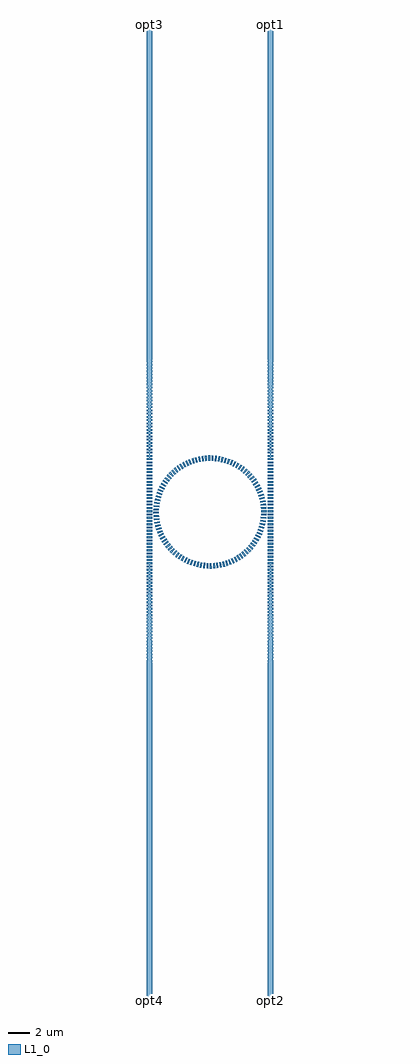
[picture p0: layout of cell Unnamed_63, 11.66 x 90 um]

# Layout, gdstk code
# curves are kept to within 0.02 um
import gdstk
lib = gdstk.Library(unit=1e-6, precision=1e-09)
def R(c, l, rs):  # rectangles x0, y0, x1, y1
    for r in rs: c.add(gdstk.rectangle(r[:2], r[2:], *l))
def A(c, l, x, y, w, h, nx, ny, dx, dy):  # array of equal rectangles
    R(c, l, [(x+i*dx, y+j*dy, x+i*dx+w, y+j*dy+h) for i in range(nx) for j in range(ny)])
def P(c, l, *ps):  # polygons
    for p in ps: c.add(gdstk.Polygon(p, *l))
L1_0 = (1, 0)

unnamed_63 = lib.new_cell('Unnamed_63')
A(unnamed_63, L1_0, -5.83, -4.5, 0.5, 0.15, 1, 31, 0, 0.3)
A(unnamed_63, L1_0, 5.33, -4.5, 0.5, 0.15, 1, 31, 0, 0.3)
P(unnamed_63, L1_0, [(-5.213,-0.153),(-5.216,0.005),(-4.716,0.005),(-4.714,-0.138)],
  [(4.716,0),(4.713,0.142),(5.213,0.157),(5.216,0)],
  [(-4.713,0.147),(-5.213,0.162),(-5.206,0.32),(-4.707,0.289)],
  [(4.707,0.285),(4.696,0.427),(5.194,0.472),(5.206,0.315)],
  [(-4.696,0.431),(-5.194,0.477),(-5.177,0.633),(-4.681,0.573)],
  [(4.681,0.568),(4.662,0.709),(5.156,0.785),(5.178,0.628)],
  [(-4.661,0.714),(-5.156,0.789),(-5.129,0.945),(-4.638,0.854)],
  [(4.638,0.85),(4.611,0.989),(5.1,1.094),(5.13,0.94)],
  [(-4.61,0.994),(-5.098,1.099),(-5.063,1.253),(-4.578,1.133)],
  [(4.579,1.128),(4.543,1.266),(5.024,1.4),(5.064,1.248)],
  [(-4.541,1.27),(-5.023,1.405),(-4.978,1.556),(-4.501,1.407)],
  [(4.502,1.403),(4.458,1.538),(4.931,1.701),(4.98,1.551)],
  [(-4.456,1.542),(-4.929,1.706),(-4.875,1.854),(-4.408,1.676)],
  [(4.409,1.672),(4.357,1.804),(4.819,1.995),(4.877,1.849)],
  [(-4.355,1.808),(-4.817,2),(-4.754,2.144),(-4.299,1.939)],
  [(4.3,1.935),(4.24,2.064),(4.69,2.283),(4.756,2.14)],
  [(-4.238,2.068),(-4.687,2.287),(-4.616,2.428),(-4.174,2.195)],
  [(4.176,2.191),(4.108,2.316),(4.543,2.561),(4.619,2.423)],
  [(-4.106,2.32),(-4.541,2.566),(-4.461,2.702),(-4.034,2.443)],
  [(4.036,2.439),(3.96,2.56),(4.38,2.831),(4.464,2.698)],
  [(-3.958,2.563),(-4.378,2.835),(-4.29,2.966),(-3.879,2.682)],
  [(3.881,2.678),(3.799,2.794),(4.202,3.09),(4.293,2.962)],
  [(-3.796,2.798),(-4.199,3.094),(-4.103,3.22),(-3.71,2.911)],
  [(3.713,2.907),(3.623,3.018),(4.007,3.338),(4.106,3.216)],
  [(-3.62,3.022),(-4.004,3.342),(-3.901,3.461),(-3.527,3.13)],
  [(3.53,3.126),(3.434,3.231),(3.799,3.574),(3.905,3.458)],
  [(-3.431,3.235),(-3.795,3.578),(-3.685,3.691),(-3.332,3.337)],
  [(3.335,3.334),(3.233,3.433),(3.576,3.797),(3.689,3.687)],
  [(-3.23,3.436),(-3.572,3.8),(-3.456,3.906),(-3.125,3.532)],
  [(3.128,3.529),(3.02,3.622),(3.34,4.006),(3.46,3.903)],
  [(-3.017,3.625),(-3.336,4.009),(-3.214,4.108),(-2.906,3.714)],
  [(2.909,3.711),(2.796,3.797),(3.092,4.2),(3.218,4.105)],
  [(-2.792,3.8),(-3.088,4.203),(-2.96,4.294),(-2.676,3.883)],
  [(2.68,3.88),(2.562,3.959),(2.833,4.379),(2.964,4.292)],
  [(-2.558,3.962),(-2.829,4.382),(-2.695,4.465),(-2.437,4.037)],
  [(2.441,4.035),(2.318,4.107),(2.564,4.542),(2.7,4.463)],
  [(-2.314,4.109),(-2.559,4.545),(-2.421,4.62),(-2.189,4.177)],
  [(2.193,4.175),(2.066,4.239),(2.285,4.689),(2.425,4.617)],
  [(-2.062,4.241),(-2.28,4.691),(-2.138,4.757),(-1.933,4.301)],
  [(1.937,4.3),(1.806,4.356),(1.998,4.818),(2.142,4.755)],
  [(-1.802,4.358),(-1.993,4.82),(-1.847,4.878),(-1.67,4.41)],
  [(1.674,4.409),(1.54,4.457),(1.703,4.93),(1.851,4.876)],
  [(-1.536,4.459),(-1.699,4.931),(-1.549,4.98),(-1.4,4.503)],
  [(1.405,4.502),(1.268,4.542),(1.403,5.024),(1.554,4.979)],
  [(-1.264,4.543),(-1.398,5.025),(-1.245,5.065),(-1.126,4.579)],
  [(1.13,4.578),(0.992,4.61),(1.097,5.099),(1.25,5.064)],
  [(-0.987,4.611),(-1.092,5.1),(-0.937,5.131),(-0.848,4.639)],
  [(0.852,4.638),(0.712,4.662),(0.787,5.156),(0.942,5.13)],
  [(-0.707,4.662),(-0.782,5.157),(-0.626,5.178),(-0.566,4.682)],
  [(0.57,4.681),(0.429,4.696),(0.474,5.194),(0.631,5.177)],
  [(-0.424,4.696),(-0.469,5.194),(-0.312,5.206),(-0.282,4.707)],
  [(0.287,4.707),(0.145,4.713),(0.16,5.213),(0.317,5.206)],
  [(-0.14,4.714),(-0.155,5.213),(0.002,5.216),(0.002,4.716)],
  [(-5.83,4.8),(-5.83,4.95),(-5.612,4.95),(-5.616,5.1),(-5.83,5.1),(-5.83,5.25),(-5.619,5.25),(-5.622,5.4),(-5.83,5.4),(-5.83,5.55),(-5.625,5.55),(-5.629,5.7),(-5.83,5.7),(-5.83,5.85),(-5.632,5.85),(-5.635,6),(-5.83,6),(-5.83,6.15),(-5.639,6.15),(-5.642,6.3),(-5.83,6.3),(-5.83,6.45),(-5.645,6.45),(-5.649,6.6),(-5.83,6.6),(-5.83,6.75),(-5.652,6.75),(-5.655,6.9),(-5.83,6.9),(-5.83,7.05),(-5.658,7.05),(-5.662,7.2),(-5.83,7.2),(-5.83,7.35),(-5.665,7.35),(-5.668,7.5),(-5.83,7.5),(-5.83,7.65),(-5.672,7.65),(-5.675,7.8),(-5.83,7.8),(-5.83,7.95),(-5.678,7.95),(-5.682,8.1),(-5.83,8.1),(-5.83,8.25),(-5.685,8.25),(-5.688,8.4),(-5.83,8.4),(-5.83,8.55),(-5.691,8.55),(-5.695,8.7),(-5.83,8.7),(-5.83,8.85),(-5.698,8.85),(-5.701,9),(-5.83,9),(-5.83,9.15),(-5.705,9.15),(-5.708,9.3),(-5.83,9.3),(-5.83,9.45),(-5.711,9.45),(-5.715,9.6),(-5.83,9.6),(-5.83,9.75),(-5.718,9.75),(-5.721,9.9),(-5.83,9.9),(-5.83,10.05),(-5.724,10.05),(-5.728,10.2),(-5.83,10.2),(-5.83,10.35),(-5.731,10.35),(-5.734,10.5),(-5.83,10.5),(-5.83,10.65),(-5.738,10.65),(-5.741,10.8),(-5.83,10.8),(-5.83,10.95),(-5.744,10.95),(-5.748,11.1),(-5.83,11.1),(-5.83,11.25),(-5.751,11.25),(-5.754,11.4),(-5.83,11.4),(-5.83,11.55),(-5.757,11.55),(-5.761,11.7),(-5.83,11.7),(-5.83,11.85),(-5.764,11.85),(-5.767,12),(-5.83,12),(-5.83,12.15),(-5.771,12.15),(-5.774,12.3),(-5.83,12.3),(-5.83,12.45),(-5.777,12.45),(-5.781,12.6),(-5.83,12.6),(-5.83,12.75),(-5.784,12.75),(-5.787,12.9),(-5.83,12.9),(-5.83,13.05),(-5.79,13.05),(-5.794,13.2),(-5.83,13.2),(-5.83,13.35),(-5.797,13.35),(-5.8,13.5),(-5.83,13.5),(-5.83,13.65),(-5.804,13.65),(-5.807,13.8),(-5.83,13.8),(-5.83,45),(-5.33,45),(-5.33,13.8),(-5.353,13.8),(-5.356,13.65),(-5.33,13.65),(-5.33,13.5),(-5.36,13.5),(-5.363,13.35),(-5.33,13.35),(-5.33,13.2),(-5.366,13.2),(-5.37,13.05),(-5.33,13.05),(-5.33,12.9),(-5.373,12.9),(-5.376,12.75),(-5.33,12.75),(-5.33,12.6),(-5.38,12.6),(-5.383,12.45),(-5.33,12.45),(-5.33,12.3),(-5.386,12.3),(-5.389,12.15),(-5.33,12.15),(-5.33,12),(-5.393,12),(-5.396,11.85),(-5.33,11.85),(-5.33,11.7),(-5.399,11.7),(-5.403,11.55),(-5.33,11.55),(-5.33,11.4),(-5.406,11.4),(-5.409,11.25),(-5.33,11.25),(-5.33,11.1),(-5.413,11.1),(-5.416,10.95),(-5.33,10.95),(-5.33,10.8),(-5.419,10.8),(-5.422,10.65),(-5.33,10.65),(-5.33,10.5),(-5.426,10.5),(-5.429,10.35),(-5.33,10.35),(-5.33,10.2),(-5.432,10.2),(-5.436,10.05),(-5.33,10.05),(-5.33,9.9),(-5.439,9.9),(-5.442,9.75),(-5.33,9.75),(-5.33,9.6),(-5.446,9.6),(-5.449,9.45),(-5.33,9.45),(-5.33,9.3),(-5.452,9.3),(-5.455,9.15),(-5.33,9.15),(-5.33,9),(-5.459,9),(-5.462,8.85),(-5.33,8.85),(-5.33,8.7),(-5.465,8.7),(-5.469,8.55),(-5.33,8.55),(-5.33,8.4),(-5.472,8.4),(-5.475,8.25),(-5.33,8.25),(-5.33,8.1),(-5.479,8.1),(-5.482,7.95),(-5.33,7.95),(-5.33,7.8),(-5.485,7.8),(-5.488,7.65),(-5.33,7.65),(-5.33,7.5),(-5.492,7.5),(-5.495,7.35),(-5.33,7.35),(-5.33,7.2),(-5.498,7.2),(-5.502,7.05),(-5.33,7.05),(-5.33,6.9),(-5.505,6.9),(-5.508,6.75),(-5.33,6.75),(-5.33,6.6),(-5.512,6.6),(-5.515,6.45),(-5.33,6.45),(-5.33,6.3),(-5.518,6.3),(-5.521,6.15),(-5.33,6.15),(-5.33,6),(-5.525,6),(-5.528,5.85),(-5.33,5.85),(-5.33,5.7),(-5.531,5.7),(-5.535,5.55),(-5.33,5.55),(-5.33,5.4),(-5.538,5.4),(-5.541,5.25),(-5.33,5.25),(-5.33,5.1),(-5.545,5.1),(-5.548,4.95),(-5.33,4.95),(-5.33,4.8)],
  [(5.33,4.8),(5.33,4.95),(5.548,4.95),(5.544,5.1),(5.33,5.1),(5.33,5.25),(5.541,5.25),(5.538,5.4),(5.33,5.4),(5.33,5.55),(5.535,5.55),(5.531,5.7),(5.33,5.7),(5.33,5.85),(5.528,5.85),(5.525,6),(5.33,6),(5.33,6.15),(5.521,6.15),(5.518,6.3),(5.33,6.3),(5.33,6.45),(5.515,6.45),(5.511,6.6),(5.33,6.6),(5.33,6.75),(5.508,6.75),(5.505,6.9),(5.33,6.9),(5.33,7.05),(5.502,7.05),(5.498,7.2),(5.33,7.2),(5.33,7.35),(5.495,7.35),(5.492,7.5),(5.33,7.5),(5.33,7.65),(5.488,7.65),(5.485,7.8),(5.33,7.8),(5.33,7.95),(5.482,7.95),(5.478,8.1),(5.33,8.1),(5.33,8.25),(5.475,8.25),(5.472,8.4),(5.33,8.4),(5.33,8.55),(5.469,8.55),(5.465,8.7),(5.33,8.7),(5.33,8.85),(5.462,8.85),(5.459,9),(5.33,9),(5.33,9.15),(5.455,9.15),(5.452,9.3),(5.33,9.3),(5.33,9.45),(5.449,9.45),(5.445,9.6),(5.33,9.6),(5.33,9.75),(5.442,9.75),(5.439,9.9),(5.33,9.9),(5.33,10.05),(5.436,10.05),(5.432,10.2),(5.33,10.2),(5.33,10.35),(5.429,10.35),(5.426,10.5),(5.33,10.5),(5.33,10.65),(5.422,10.65),(5.419,10.8),(5.33,10.8),(5.33,10.95),(5.416,10.95),(5.412,11.1),(5.33,11.1),(5.33,11.25),(5.409,11.25),(5.406,11.4),(5.33,11.4),(5.33,11.55),(5.403,11.55),(5.399,11.7),(5.33,11.7),(5.33,11.85),(5.396,11.85),(5.393,12),(5.33,12),(5.33,12.15),(5.389,12.15),(5.386,12.3),(5.33,12.3),(5.33,12.45),(5.383,12.45),(5.379,12.6),(5.33,12.6),(5.33,12.75),(5.376,12.75),(5.373,12.9),(5.33,12.9),(5.33,13.05),(5.37,13.05),(5.366,13.2),(5.33,13.2),(5.33,13.35),(5.363,13.35),(5.36,13.5),(5.33,13.5),(5.33,13.65),(5.356,13.65),(5.353,13.8),(5.33,13.8),(5.33,45),(5.83,45),(5.83,13.8),(5.807,13.8),(5.804,13.65),(5.83,13.65),(5.83,13.5),(5.8,13.5),(5.797,13.35),(5.83,13.35),(5.83,13.2),(5.794,13.2),(5.79,13.05),(5.83,13.05),(5.83,12.9),(5.787,12.9),(5.784,12.75),(5.83,12.75),(5.83,12.6),(5.78,12.6),(5.777,12.45),(5.83,12.45),(5.83,12.3),(5.774,12.3),(5.771,12.15),(5.83,12.15),(5.83,12),(5.767,12),(5.764,11.85),(5.83,11.85),(5.83,11.7),(5.761,11.7),(5.757,11.55),(5.83,11.55),(5.83,11.4),(5.754,11.4),(5.751,11.25),(5.83,11.25),(5.83,11.1),(5.747,11.1),(5.744,10.95),(5.83,10.95),(5.83,10.8),(5.741,10.8),(5.738,10.65),(5.83,10.65),(5.83,10.5),(5.734,10.5),(5.731,10.35),(5.83,10.35),(5.83,10.2),(5.728,10.2),(5.724,10.05),(5.83,10.05),(5.83,9.9),(5.721,9.9),(5.718,9.75),(5.83,9.75),(5.83,9.6),(5.714,9.6),(5.711,9.45),(5.83,9.45),(5.83,9.3),(5.708,9.3),(5.705,9.15),(5.83,9.15),(5.83,9),(5.701,9),(5.698,8.85),(5.83,8.85),(5.83,8.7),(5.695,8.7),(5.691,8.55),(5.83,8.55),(5.83,8.4),(5.688,8.4),(5.685,8.25),(5.83,8.25),(5.83,8.1),(5.681,8.1),(5.678,7.95),(5.83,7.95),(5.83,7.8),(5.675,7.8),(5.672,7.65),(5.83,7.65),(5.83,7.5),(5.668,7.5),(5.665,7.35),(5.83,7.35),(5.83,7.2),(5.662,7.2),(5.658,7.05),(5.83,7.05),(5.83,6.9),(5.655,6.9),(5.652,6.75),(5.83,6.75),(5.83,6.6),(5.648,6.6),(5.645,6.45),(5.83,6.45),(5.83,6.3),(5.642,6.3),(5.639,6.15),(5.83,6.15),(5.83,6),(5.635,6),(5.632,5.85),(5.83,5.85),(5.83,5.7),(5.629,5.7),(5.625,5.55),(5.83,5.55),(5.83,5.4),(5.622,5.4),(5.619,5.25),(5.83,5.25),(5.83,5.1),(5.615,5.1),(5.612,4.95),(5.83,4.95),(5.83,4.8)],
  [(0.621,-5.179),(0.562,-4.682),(0.703,-4.663),(0.777,-5.157)],
  [(-5.83,-45),(-5.83,-13.65),(-5.807,-13.65),(-5.804,-13.5),(-5.83,-13.5),(-5.83,-13.35),(-5.8,-13.35),(-5.797,-13.2),(-5.83,-13.2),(-5.83,-13.05),(-5.794,-13.05),(-5.79,-12.9),(-5.83,-12.9),(-5.83,-12.75),(-5.787,-12.75),(-5.784,-12.6),(-5.83,-12.6),(-5.83,-12.45),(-5.781,-12.45),(-5.777,-12.3),(-5.83,-12.3),(-5.83,-12.15),(-5.774,-12.15),(-5.771,-12),(-5.83,-12),(-5.83,-11.85),(-5.767,-11.85),(-5.764,-11.7),(-5.83,-11.7),(-5.83,-11.55),(-5.761,-11.55),(-5.757,-11.4),(-5.83,-11.4),(-5.83,-11.25),(-5.754,-11.25),(-5.751,-11.1),(-5.83,-11.1),(-5.83,-10.95),(-5.748,-10.95),(-5.744,-10.8),(-5.83,-10.8),(-5.83,-10.65),(-5.741,-10.65),(-5.738,-10.5),(-5.83,-10.5),(-5.83,-10.35),(-5.734,-10.35),(-5.731,-10.2),(-5.83,-10.2),(-5.83,-10.05),(-5.728,-10.05),(-5.724,-9.9),(-5.83,-9.9),(-5.83,-9.75),(-5.721,-9.75),(-5.718,-9.6),(-5.83,-9.6),(-5.83,-9.45),(-5.715,-9.45),(-5.711,-9.3),(-5.83,-9.3),(-5.83,-9.15),(-5.708,-9.15),(-5.705,-9),(-5.83,-9),(-5.83,-8.85),(-5.701,-8.85),(-5.698,-8.7),(-5.83,-8.7),(-5.83,-8.55),(-5.695,-8.55),(-5.691,-8.4),(-5.83,-8.4),(-5.83,-8.25),(-5.688,-8.25),(-5.685,-8.1),(-5.83,-8.1),(-5.83,-7.95),(-5.682,-7.95),(-5.678,-7.8),(-5.83,-7.8),(-5.83,-7.65),(-5.675,-7.65),(-5.672,-7.5),(-5.83,-7.5),(-5.83,-7.35),(-5.668,-7.35),(-5.665,-7.2),(-5.83,-7.2),(-5.83,-7.05),(-5.662,-7.05),(-5.658,-6.9),(-5.83,-6.9),(-5.83,-6.75),(-5.655,-6.75),(-5.652,-6.6),(-5.83,-6.6),(-5.83,-6.45),(-5.649,-6.45),(-5.645,-6.3),(-5.83,-6.3),(-5.83,-6.15),(-5.642,-6.15),(-5.639,-6),(-5.83,-6),(-5.83,-5.85),(-5.635,-5.85),(-5.632,-5.7),(-5.83,-5.7),(-5.83,-5.55),(-5.629,-5.55),(-5.625,-5.4),(-5.83,-5.4),(-5.83,-5.25),(-5.622,-5.25),(-5.619,-5.1),(-5.83,-5.1),(-5.83,-4.95),(-5.616,-4.95),(-5.612,-4.8),(-5.83,-4.8),(-5.83,-4.65),(-5.33,-4.65),(-5.33,-4.8),(-5.548,-4.8),(-5.545,-4.95),(-5.33,-4.95),(-5.33,-5.1),(-5.541,-5.1),(-5.538,-5.25),(-5.33,-5.25),(-5.33,-5.4),(-5.535,-5.4),(-5.531,-5.55),(-5.33,-5.55),(-5.33,-5.7),(-5.528,-5.7),(-5.525,-5.85),(-5.33,-5.85),(-5.33,-6),(-5.521,-6),(-5.518,-6.15),(-5.33,-6.15),(-5.33,-6.3),(-5.515,-6.3),(-5.512,-6.45),(-5.33,-6.45),(-5.33,-6.6),(-5.508,-6.6),(-5.505,-6.75),(-5.33,-6.75),(-5.33,-6.9),(-5.502,-6.9),(-5.498,-7.05),(-5.33,-7.05),(-5.33,-7.2),(-5.495,-7.2),(-5.492,-7.35),(-5.33,-7.35),(-5.33,-7.5),(-5.488,-7.5),(-5.485,-7.65),(-5.33,-7.65),(-5.33,-7.8),(-5.482,-7.8),(-5.479,-7.95),(-5.33,-7.95),(-5.33,-8.1),(-5.475,-8.1),(-5.472,-8.25),(-5.33,-8.25),(-5.33,-8.4),(-5.469,-8.4),(-5.465,-8.55),(-5.33,-8.55),(-5.33,-8.7),(-5.462,-8.7),(-5.459,-8.85),(-5.33,-8.85),(-5.33,-9),(-5.455,-9),(-5.452,-9.15),(-5.33,-9.15),(-5.33,-9.3),(-5.449,-9.3),(-5.446,-9.45),(-5.33,-9.45),(-5.33,-9.6),(-5.442,-9.6),(-5.439,-9.75),(-5.33,-9.75),(-5.33,-9.9),(-5.436,-9.9),(-5.432,-10.05),(-5.33,-10.05),(-5.33,-10.2),(-5.429,-10.2),(-5.426,-10.35),(-5.33,-10.35),(-5.33,-10.5),(-5.422,-10.5),(-5.419,-10.65),(-5.33,-10.65),(-5.33,-10.8),(-5.416,-10.8),(-5.413,-10.95),(-5.33,-10.95),(-5.33,-11.1),(-5.409,-11.1),(-5.406,-11.25),(-5.33,-11.25),(-5.33,-11.4),(-5.403,-11.4),(-5.399,-11.55),(-5.33,-11.55),(-5.33,-11.7),(-5.396,-11.7),(-5.393,-11.85),(-5.33,-11.85),(-5.33,-12),(-5.389,-12),(-5.386,-12.15),(-5.33,-12.15),(-5.33,-12.3),(-5.383,-12.3),(-5.38,-12.45),(-5.33,-12.45),(-5.33,-12.6),(-5.376,-12.6),(-5.373,-12.75),(-5.33,-12.75),(-5.33,-12.9),(-5.37,-12.9),(-5.366,-13.05),(-5.33,-13.05),(-5.33,-13.2),(-5.363,-13.2),(-5.36,-13.35),(-5.33,-13.35),(-5.33,-13.5),(-5.356,-13.5),(-5.353,-13.65),(-5.33,-13.65),(-5.33,-45)],
  [(5.33,-45),(5.33,-13.65),(5.353,-13.65),(5.356,-13.5),(5.33,-13.5),(5.33,-13.35),(5.36,-13.35),(5.363,-13.2),(5.33,-13.2),(5.33,-13.05),(5.366,-13.05),(5.37,-12.9),(5.33,-12.9),(5.33,-12.75),(5.373,-12.75),(5.376,-12.6),(5.33,-12.6),(5.33,-12.45),(5.379,-12.45),(5.383,-12.3),(5.33,-12.3),(5.33,-12.15),(5.386,-12.15),(5.389,-12),(5.33,-12),(5.33,-11.85),(5.393,-11.85),(5.396,-11.7),(5.33,-11.7),(5.33,-11.55),(5.399,-11.55),(5.403,-11.4),(5.33,-11.4),(5.33,-11.25),(5.406,-11.25),(5.409,-11.1),(5.33,-11.1),(5.33,-10.95),(5.412,-10.95),(5.416,-10.8),(5.33,-10.8),(5.33,-10.65),(5.419,-10.65),(5.422,-10.5),(5.33,-10.5),(5.33,-10.35),(5.426,-10.35),(5.429,-10.2),(5.33,-10.2),(5.33,-10.05),(5.432,-10.05),(5.436,-9.9),(5.33,-9.9),(5.33,-9.75),(5.439,-9.75),(5.442,-9.6),(5.33,-9.6),(5.33,-9.45),(5.445,-9.45),(5.449,-9.3),(5.33,-9.3),(5.33,-9.15),(5.452,-9.15),(5.455,-9),(5.33,-9),(5.33,-8.85),(5.459,-8.85),(5.462,-8.7),(5.33,-8.7),(5.33,-8.55),(5.465,-8.55),(5.469,-8.4),(5.33,-8.4),(5.33,-8.25),(5.472,-8.25),(5.475,-8.1),(5.33,-8.1),(5.33,-7.95),(5.478,-7.95),(5.482,-7.8),(5.33,-7.8),(5.33,-7.65),(5.485,-7.65),(5.488,-7.5),(5.33,-7.5),(5.33,-7.35),(5.492,-7.35),(5.495,-7.2),(5.33,-7.2),(5.33,-7.05),(5.498,-7.05),(5.502,-6.9),(5.33,-6.9),(5.33,-6.75),(5.505,-6.75),(5.508,-6.6),(5.33,-6.6),(5.33,-6.45),(5.511,-6.45),(5.515,-6.3),(5.33,-6.3),(5.33,-6.15),(5.518,-6.15),(5.521,-6),(5.33,-6),(5.33,-5.85),(5.525,-5.85),(5.528,-5.7),(5.33,-5.7),(5.33,-5.55),(5.531,-5.55),(5.535,-5.4),(5.33,-5.4),(5.33,-5.25),(5.538,-5.25),(5.541,-5.1),(5.33,-5.1),(5.33,-4.95),(5.544,-4.95),(5.548,-4.8),(5.33,-4.8),(5.33,-4.65),(5.83,-4.65),(5.83,-4.8),(5.612,-4.8),(5.615,-4.95),(5.83,-4.95),(5.83,-5.1),(5.619,-5.1),(5.622,-5.25),(5.83,-5.25),(5.83,-5.4),(5.625,-5.4),(5.629,-5.55),(5.83,-5.55),(5.83,-5.7),(5.632,-5.7),(5.635,-5.85),(5.83,-5.85),(5.83,-6),(5.639,-6),(5.642,-6.15),(5.83,-6.15),(5.83,-6.3),(5.645,-6.3),(5.648,-6.45),(5.83,-6.45),(5.83,-6.6),(5.652,-6.6),(5.655,-6.75),(5.83,-6.75),(5.83,-6.9),(5.658,-6.9),(5.662,-7.05),(5.83,-7.05),(5.83,-7.2),(5.665,-7.2),(5.668,-7.35),(5.83,-7.35),(5.83,-7.5),(5.672,-7.5),(5.675,-7.65),(5.83,-7.65),(5.83,-7.8),(5.678,-7.8),(5.681,-7.95),(5.83,-7.95),(5.83,-8.1),(5.685,-8.1),(5.688,-8.25),(5.83,-8.25),(5.83,-8.4),(5.691,-8.4),(5.695,-8.55),(5.83,-8.55),(5.83,-8.7),(5.698,-8.7),(5.701,-8.85),(5.83,-8.85),(5.83,-9),(5.705,-9),(5.708,-9.15),(5.83,-9.15),(5.83,-9.3),(5.711,-9.3),(5.714,-9.45),(5.83,-9.45),(5.83,-9.6),(5.718,-9.6),(5.721,-9.75),(5.83,-9.75),(5.83,-9.9),(5.724,-9.9),(5.728,-10.05),(5.83,-10.05),(5.83,-10.2),(5.731,-10.2),(5.734,-10.35),(5.83,-10.35),(5.83,-10.5),(5.738,-10.5),(5.741,-10.65),(5.83,-10.65),(5.83,-10.8),(5.744,-10.8),(5.747,-10.95),(5.83,-10.95),(5.83,-11.1),(5.751,-11.1),(5.754,-11.25),(5.83,-11.25),(5.83,-11.4),(5.757,-11.4),(5.761,-11.55),(5.83,-11.55),(5.83,-11.7),(5.764,-11.7),(5.767,-11.85),(5.83,-11.85),(5.83,-12),(5.771,-12),(5.774,-12.15),(5.83,-12.15),(5.83,-12.3),(5.777,-12.3),(5.78,-12.45),(5.83,-12.45),(5.83,-12.6),(5.784,-12.6),(5.787,-12.75),(5.83,-12.75),(5.83,-12.9),(5.79,-12.9),(5.794,-13.05),(5.83,-13.05),(5.83,-13.2),(5.797,-13.2),(5.8,-13.35),(5.83,-13.35),(5.83,-13.5),(5.804,-13.5),(5.807,-13.65),(5.83,-13.65),(5.83,-45)],
  [(-0.792,-5.155),(-0.947,-5.129),(-0.856,-4.637),(-0.716,-4.661)],
  [(0.933,-5.132),(0.843,-4.64),(0.983,-4.612),(1.087,-5.101)],
  [(-1.102,-5.098),(-1.255,-5.062),(-1.135,-4.577),(-0.996,-4.609)],
  [(1.241,-5.066),(1.122,-4.58),(1.259,-4.544),(1.393,-5.026)],
  [(-1.407,-5.022),(-1.558,-4.977),(-1.409,-4.5),(-1.272,-4.541)],
  [(1.544,-4.982),(1.396,-4.504),(1.531,-4.46),(1.694,-4.933)],
  [(-1.708,-4.928),(-1.856,-4.874),(-1.678,-4.407),(-1.544,-4.456)],
  [(1.842,-4.88),(1.665,-4.412),(1.798,-4.359),(1.988,-4.822)],
  [(-2.002,-4.816),(-2.147,-4.753),(-1.941,-4.298),(-1.81,-4.354)],
  [(2.133,-4.759),(1.929,-4.303),(2.058,-4.243),(2.276,-4.693)],
  [(-2.289,-4.686),(-2.43,-4.615),(-2.197,-4.173),(-2.07,-4.237)],
  [(2.417,-4.622),(2.185,-4.179),(2.31,-4.111),(2.555,-4.547)],
  [(-2.568,-4.54),(-2.704,-4.46),(-2.445,-4.032),(-2.322,-4.104)],
  [(2.691,-4.468),(2.433,-4.039),(2.554,-3.964),(2.825,-4.384)],
  [(-2.837,-4.376),(-2.968,-4.289),(-2.684,-3.878),(-2.565,-3.957)],
  [(2.956,-4.297),(2.673,-3.885),(2.789,-3.803),(3.084,-4.206)],
  [(-3.096,-4.197),(-3.222,-4.102),(-2.913,-3.708),(-2.799,-3.795)],
  [(3.21,-4.111),(2.902,-3.717),(3.013,-3.627),(3.333,-4.012)],
  [(-3.344,-4.003),(-3.463,-3.9),(-3.131,-3.526),(-3.023,-3.619)],
  [(3.452,-3.91),(3.121,-3.535),(3.227,-3.439),(3.569,-3.804)],
  [(-3.58,-3.793),(-3.692,-3.684),(-3.338,-3.33),(-3.236,-3.43)],
  [(3.682,-3.694),(3.329,-3.34),(3.428,-3.238),(3.792,-3.581)],
  [(-3.802,-3.57),(-3.908,-3.454),(-3.533,-3.123),(-3.437,-3.228)],
  [(3.898,-3.465),(3.524,-3.133),(3.617,-3.025),(4.001,-3.346)],
  [(-4.011,-3.334),(-4.109,-3.212),(-3.715,-2.904),(-3.626,-3.015)],
  [(4.1,-3.224),(3.707,-2.915),(3.793,-2.801),(4.196,-3.098)],
  [(-4.204,-3.086),(-4.296,-2.958),(-3.884,-2.674),(-3.801,-2.79)],
  [(4.287,-2.97),(3.876,-2.685),(3.956,-2.567),(4.375,-2.839)],
  [(-4.383,-2.827),(-4.466,-2.693),(-4.038,-2.435),(-3.963,-2.556)],
  [(4.459,-2.706),(4.031,-2.447),(4.103,-2.324),(4.538,-2.57)],
  [(-4.546,-2.557),(-4.621,-2.419),(-4.178,-2.187),(-4.11,-2.312)],
  [(4.614,-2.432),(4.172,-2.199),(4.236,-2.072),(4.685,-2.292)],
  [(-4.692,-2.278),(-4.758,-2.135),(-4.302,-1.931),(-4.242,-2.06)],
  [(4.752,-2.149),(4.297,-1.943),(4.353,-1.812),(4.815,-2.005)],
  [(-4.821,-1.991),(-4.879,-1.844),(-4.411,-1.667),(-4.359,-1.8)],
  [(4.873,-1.858),(4.406,-1.68),(4.455,-1.546),(4.927,-1.71)],
  [(-4.932,-1.696),(-4.981,-1.546),(-4.504,-1.398),(-4.459,-1.534)],
  [(4.977,-1.561),(4.5,-1.411),(4.54,-1.275),(5.022,-1.41)],
  [(-5.026,-1.395),(-5.065,-1.243),(-4.58,-1.124),(-4.544,-1.262)],
  [(5.062,-1.257),(4.577,-1.137),(4.609,-0.998),(5.097,-1.104)],
  [(-5.101,-1.089),(-5.131,-0.935),(-4.639,-0.845),(-4.612,-0.985)],
  [(5.128,-0.95),(4.637,-0.859),(4.661,-0.718),(5.155,-0.794)],
  [(-5.157,-0.78),(-5.178,-0.624),(-4.682,-0.564),(-4.663,-0.705)],
  [(5.176,-0.638),(4.68,-0.577),(4.695,-0.436),(5.193,-0.482)],
  [(-5.195,-0.467),(-5.206,-0.31),(-4.707,-0.28),(-4.697,-0.422)],
  [(5.206,-0.325),(4.706,-0.294),(4.713,-0.151),(5.213,-0.167)],
  [(-0.007,-5.216),(-0.007,-4.716),(0.136,-4.714),(0.15,-5.213)],
  [(-0.165,-5.213),(-0.322,-5.206),(-0.291,-4.707),(-0.149,-4.713)],
  [(0.307,-5.207),(0.278,-4.707),(0.42,-4.697),(0.464,-5.195)],
  [(-0.479,-5.194),(-0.636,-5.177),(-0.575,-4.68),(-0.433,-4.696)])
unnamed_63.add(gdstk.Label('opt1', (5.58,45), layer=10, texttype=0))
unnamed_63.add(gdstk.Label('opt2', (5.58,-45), layer=10, texttype=0))
unnamed_63.add(gdstk.Label('opt3', (-5.58,45), layer=10, texttype=0))
unnamed_63.add(gdstk.Label('opt4', (-5.58,-45), layer=10, texttype=0))

lib.write_gds('Unnamed_63.gds')
